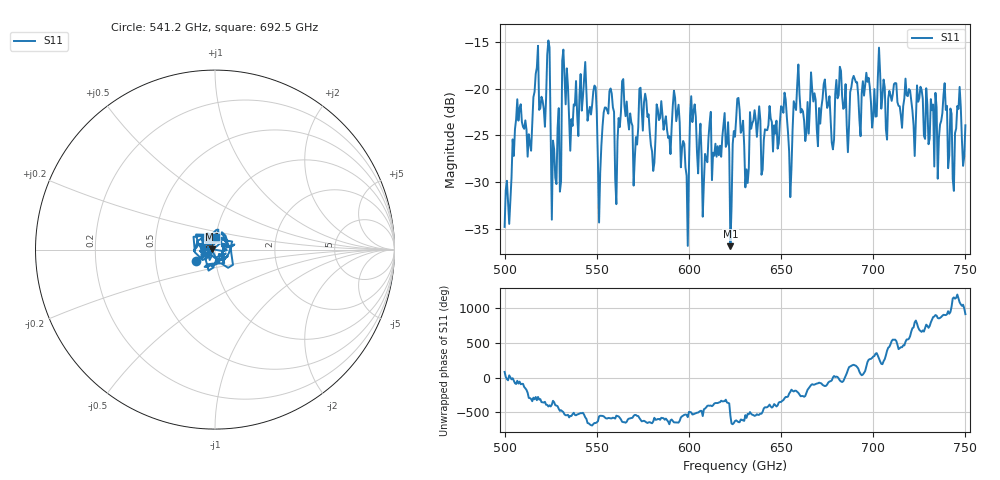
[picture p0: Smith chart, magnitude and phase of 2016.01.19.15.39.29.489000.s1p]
!Created with skrf (http://scikit-rf.org).
# GHz S RI R 50.0
!freq ReS11 ImS11
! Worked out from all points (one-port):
!   401 points, 500 GHz to 750 GHz, reference 50 ohm
!   lowest |S11| = -36.9 dB at 622.5 GHz (marker M1), VSWR 1.03, Z = 48.6 + j0.182 ohm
!   |S11| at or under -10 dB: start of sweep to end of sweep
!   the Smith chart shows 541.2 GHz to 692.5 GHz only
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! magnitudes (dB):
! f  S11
! 500 GHz  -34.8
! 507.5 GHz  -23.4
! 513.8 GHz  -25.9
! 516.9 GHz  -18.4
! 523.8 GHz  -14.8
! 526.9 GHz  -26.5
! 531.2 GHz  -17.0
! 548.8 GHz  -19.7
! 551.9 GHz  -28.9
! 556.2 GHz  -22.7
! 561.2 GHz  -25.6
! 562.5 GHz  -24.1
! 576.9 GHz  -21.2
! 580.6 GHz  -28.8
! 593.8 GHz  -22.6
! 598.8 GHz  -29.3
! 601.9 GHz  -23.6
! 608.1 GHz  -30.0
! 620 GHz  -26.2
! 622.5 GHz  -36.9
! 625 GHz  -25.1
! 631.2 GHz  -28.6
! 634.4 GHz  -23.7
! 656.2 GHz  -24.3
! 658.8 GHz  -19.6
! 687.5 GHz  -20.3
! 718.8 GHz  -20.8
! 750 GHz  -23.9
